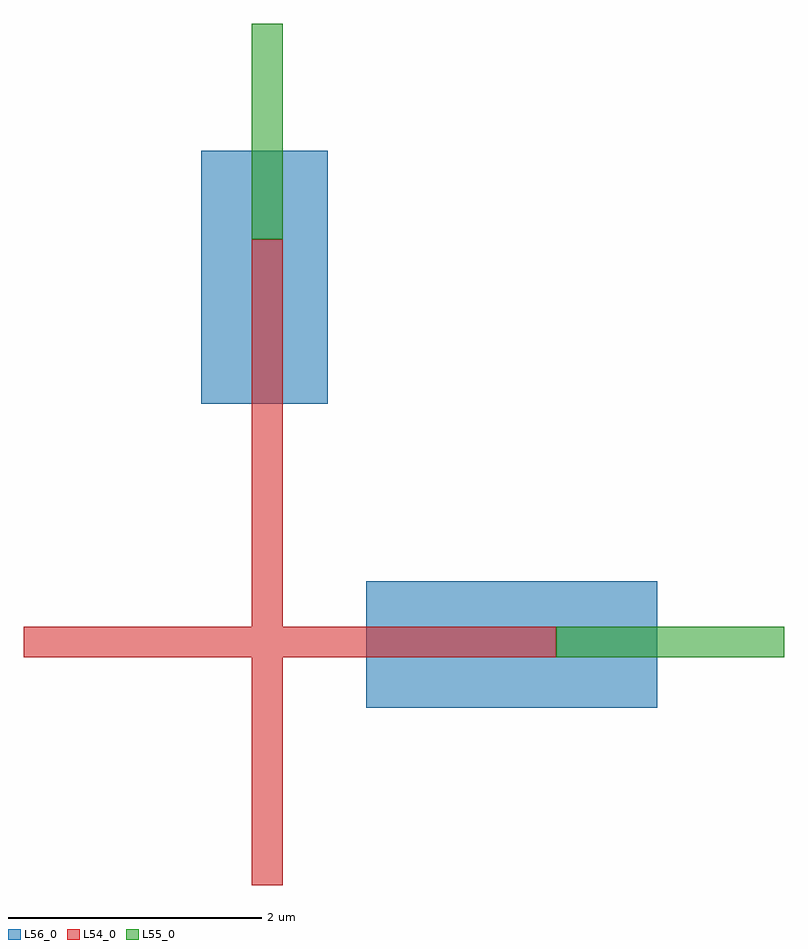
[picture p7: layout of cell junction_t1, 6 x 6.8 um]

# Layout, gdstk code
import gdstk
lib = gdstk.Library(unit=1e-6, precision=1e-09)
def R(c, l, rs):  # rectangles x0, y0, x1, y1
    for r in rs: c.add(gdstk.rectangle(r[:2], r[2:], *l))
L54_0 = (54, 0)
L55_0 = (55, 0)
L56_0 = (56, 0)

junction_t1 = lib.new_cell('junction_t1')
R(junction_t1, L54_0, [(-1.2,-2.8,-0.958,2.3), (-3,-1,1.2,-0.758)])
R(junction_t1, L55_0, [(1.2,-1,3,-0.758), (-1.2,2.3,-0.958,4)])
R(junction_t1, L56_0, [(-0.3,-1.4,2,-0.4), (-1.6,1,-0.6,3)])

lib.write_gds('junction_t1.gds')
